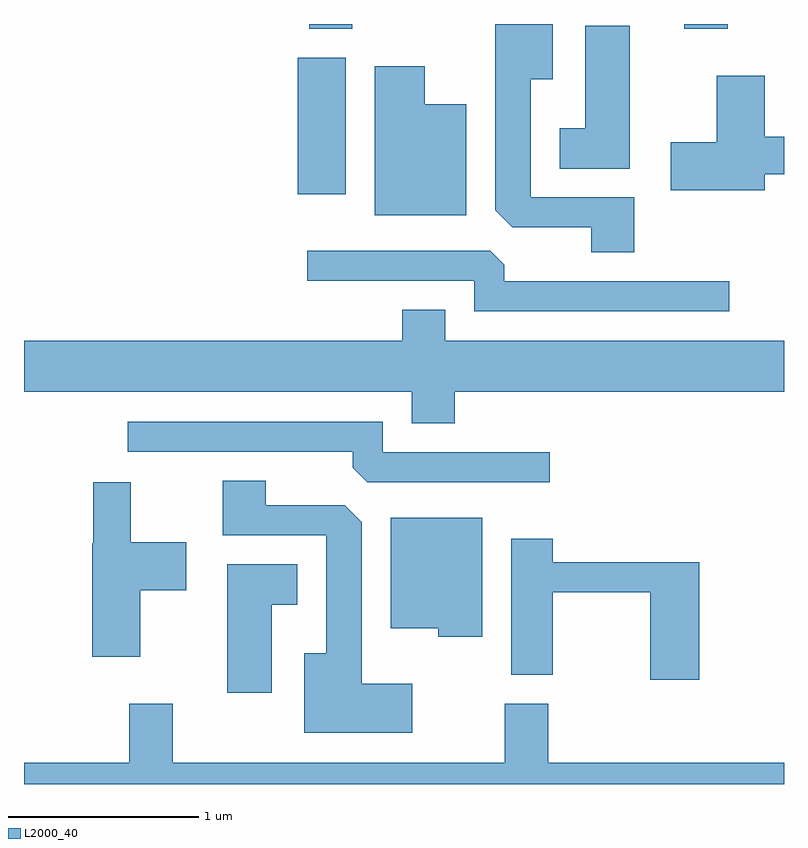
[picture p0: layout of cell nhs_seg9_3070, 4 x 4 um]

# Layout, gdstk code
import gdstk
lib = gdstk.Library(unit=1e-6, precision=1e-09)
def R(c, l, rs):  # rectangles x0, y0, x1, y1
    for r in rs: c.add(gdstk.rectangle(r[:2], r[2:], *l))
def P(c, l, *ps):  # polygons
    for p in ps: c.add(gdstk.Polygon(p, *l))
L2000_40 = (2000, 40)

nhs_seg9_3070 = lib.new_cell('nhs_seg9_3070')
R(nhs_seg9_3070, L2000_40, [(277.051,1979.536,277.304,1980.254), (277.111,1980.406,277.339,1980.432), (279.086,1980.406,279.314,1980.432)])
P(nhs_seg9_3070, L2000_40, [(278.824,1979.519),(278.279,1979.519),(278.279,1980.141),(278.394,1980.141),(278.394,1980.432),(278.091,1980.432),(278.091,1979.452),(278.182,1979.361),(278.596,1979.361),(278.596,1979.231),(278.824,1979.231)],
  [(278.799,1980.424),(278.566,1980.424),(278.566,1979.884),(278.431,1979.884),(278.431,1979.671),(278.799,1979.671)],
  [(277.939,1980.009),(277.719,1980.009),(277.719,1980.209),(277.456,1980.209),(277.456,1979.426),(277.939,1979.426)],
  [(279.509,1979.641),(279.611,1979.641),(279.611,1979.839),(279.509,1979.839),(279.509,1980.159),(279.256,1980.159),(279.256,1979.809),(279.016,1979.809),(279.016,1979.556),(279.509,1979.556)],
  [(279.323,1979.079),(278.139,1979.079),(278.139,1979.164),(278.064,1979.239),(277.103,1979.239),(277.103,1979.081),(277.981,1979.081),(277.981,1978.921),(279.323,1978.921)],
  [(277.879,1978.496),(279.611,1978.496),(279.611,1978.764),(277.829,1978.764),(277.829,1978.929),(277.601,1978.929),(277.601,1978.764),(275.611,1978.764),(275.611,1978.496),(277.651,1978.496),(277.651,1978.331),(277.879,1978.331)],
  [(278.378,1978.179),(277.499,1978.179),(277.499,1978.339),(276.158,1978.339),(276.158,1978.181),(277.341,1978.181),(277.341,1978.097),(277.417,1978.021),(278.378,1978.021)],
  [(277.654,1976.959),(277.389,1976.959),(277.389,1977.809),(277.299,1977.899),(276.884,1977.899),(276.884,1978.029),(276.656,1978.029),(276.656,1977.741),(277.201,1977.741),(277.201,1977.119),(277.086,1977.119),(277.086,1976.701),(277.654,1976.701)],
  [(276.224,1977.451),(276.464,1977.451),(276.464,1977.704),(276.174,1977.704),(276.174,1978.019),(275.976,1978.019),(275.976,1977.7),(275.971,1977.7),(275.971,1977.101),(276.224,1977.101)],
  [(278.024,1977.834),(277.541,1977.834),(277.541,1977.251),(277.791,1977.251),(277.791,1977.206),(278.024,1977.206)],
  [(279.164,1977.599),(278.394,1977.599),(278.394,1977.724),(278.176,1977.724),(278.176,1977.006),(278.394,1977.006),(278.394,1977.441),(278.906,1977.441),(278.906,1976.981),(279.164,1976.981)],
  [(276.914,1977.376),(277.049,1977.376),(277.049,1977.589),(276.681,1977.589),(276.681,1976.911),(276.914,1976.911)],
  [(279.611,1976.544),(278.369,1976.544),(278.369,1976.854),(278.141,1976.854),(278.141,1976.544),(276.394,1976.544),(276.394,1976.854),(276.166,1976.854),(276.166,1976.544),(275.611,1976.544),(275.611,1976.432),(279.611,1976.432)])

lib.write_gds('nhs_seg9_3070.gds')
